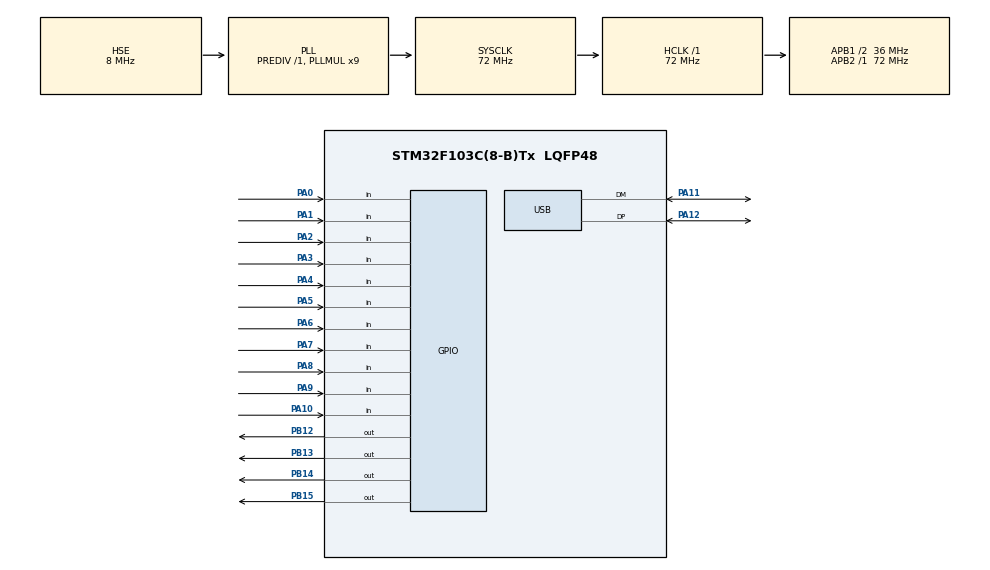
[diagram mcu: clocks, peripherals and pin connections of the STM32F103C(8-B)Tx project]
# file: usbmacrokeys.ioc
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Mcu.Family=STM32F1
Mcu.Name=STM32F103C(8-B)Tx
Mcu.Package=LQFP48
Mcu.UserConstants=bInterfaceSubClass,0x00;nInterfaceProtocol,0x00
NVIC.PriorityGroup=NVIC_PRIORITYGROUP_4
NVIC.USB_LP_CAN1_RX0_IRQn=true\:0\:0\:false\:false\:true\:false
PA0-WKUP.GPIO_PuPd=GPIO_PULLUP
PA0-WKUP.Signal=GPIO_Input
PA1.GPIO_PuPd=GPIO_PULLUP
PA1.Signal=GPIO_Input
PA10.GPIO_PuPd=GPIO_PULLUP
PA10.Signal=GPIO_Input
PA11.Mode=Device
PA11.Signal=USB_DM
PA12.Mode=Device
PA12.Signal=USB_DP
PA2.GPIO_PuPd=GPIO_PULLUP
PA2.Signal=GPIO_Input
PA3.GPIO_PuPd=GPIO_PULLUP
PA3.Signal=GPIO_Input
PA4.GPIO_PuPd=GPIO_PULLUP
PA4.Signal=GPIO_Input
PA5.GPIO_PuPd=GPIO_PULLUP
PA5.Signal=GPIO_Input
PA6.GPIO_PuPd=GPIO_PULLUP
PA6.Signal=GPIO_Input
PA7.GPIO_PuPd=GPIO_PULLUP
PA7.Signal=GPIO_Input
PA8.GPIO_PuPd=GPIO_PULLUP
PA8.Signal=GPIO_Input
PA9.GPIO_PuPd=GPIO_PULLUP
PA9.Signal=GPIO_Input
PB12.Signal=GPIO_Output
PB13.Signal=GPIO_Output
PB14.Signal=GPIO_Output
PB15.Signal=GPIO_Output
PD0-OSC_IN.Mode=HSE-External-Oscillator
PD0-OSC_IN.Signal=RCC_OSC_IN
PD1-OSC_OUT.Mode=HSE-External-Oscillator
PD1-OSC_OUT.Signal=RCC_OSC_OUT
ProjectManager.HeapSize=0x200
ProjectManager.StackSize=0x400
ProjectManager.TargetToolchain=MDK-ARM V5
RCC.AHBFreq_Value=72000000
RCC.APB1CLKDivider=RCC_HCLK_DIV2
RCC.APB1Freq_Value=36000000
RCC.APB1TimFreq_Value=72000000
RCC.APB2Freq_Value=72000000
RCC.APB2TimFreq_Value=72000000
RCC.HCLKFreq_Value=72000000
RCC.PLLMUL=RCC_PLL_MUL9
RCC.SYSCLKFreq_VALUE=72000000
RCC.SYSCLKSource=RCC_SYSCLKSOURCE_PLLCLK
RCC.USBFreq_Value=48000000
RCC.USBPrescaler=RCC_USBCLKSOURCE_PLL_DIV1_5
USB_DEVICE.CLASS_NAME_FS=CUSTOMHID
USB_DEVICE.MANUFACTURER_STRING=GV
USB_DEVICE.PID_CUSTOMHID_FS=22359
USB_DEVICE.PRODUCT_STRING_CUSTOMHID_FS=Macro Keyboard
USB_DEVICE.USBD_CUSTOM_HID_REPORT_DESC_SIZE=70
USB_DEVICE.VirtualMode=CustomHid
USB_DEVICE.VirtualModeFS=Custom_Hid_FS
VP_SYS_VS_ND.Mode=No_Debug
VP_USB_DEVICE_VS_USB_DEVICE_CUSTOM_HID_FS.Mode=CUSTOM_HID_FS
board=custom

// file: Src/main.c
/**
  ******************************************************************************
  * @file           : main.c
  * @brief          : Main program body
  ******************************************************************************
  * This notice applies to any and all portions of this file
  * that are not between comment pairs USER CODE BEGIN and
  * USER CODE END. Other portions of this file, whether
  * inserted by the user or by software development tools
  * are owned by their respective copyright owners.
  *
  * Copyright (c) 2018 STMicroelectronics International N.V.
  * All rights reserved.
  *
  * Redistribution and use in source and binary forms, with or without
  * modification, are permitted, provided that the following conditions are met:
  *
  * 1. Redistribution of source code must retain the above copyright notice,
  *    this list of conditions and the following disclaimer.
  * 2. Redistributions in binary form must reproduce the above copyright notice,
  *    this list of conditions and the following disclaimer in the documentation
  *    and/or other materials provided with the distribution.
  * 3. Neither the name of STMicroelectronics nor the names of other
  *    contributors to this software may be used to endorse or promote products
  *    derived from this software without specific written permission.
  * 4. This software, including modifications and/or derivative works of this
  *    software, must execute solely and exclusively on microcontroller or
  *    microprocessor devices manufactured by or for STMicroelectronics.
  * 5. Redistribution and use of this software other than as permitted under
  *    this license is void and will automatically terminate your rights under
  *    this license.
  *
  * THIS SOFTWARE IS PROVIDED BY STMICROELECTRONICS AND CONTRIBUTORS "AS IS"
  * AND ANY EXPRESS, IMPLIED OR STATUTORY WARRANTIES, INCLUDING, BUT NOT
  * LIMITED TO, THE IMPLIED WARRANTIES OF MERCHANTABILITY, FITNESS FOR A
  * PARTICULAR PURPOSE AND NON-INFRINGEMENT OF THIRD PARTY INTELLECTUAL PROPERTY
  * RIGHTS ARE DISCLAIMED TO THE FULLEST EXTENT PERMITTED BY LAW. IN NO EVENT
  * SHALL STMICROELECTRONICS OR CONTRIBUTORS BE LIABLE FOR ANY DIRECT, INDIRECT,
  * INCIDENTAL, SPECIAL, EXEMPLARY, OR CONSEQUENTIAL DAMAGES (INCLUDING, BUT NOT
  * LIMITED TO, PROCUREMENT OF SUBSTITUTE GOODS OR SERVICES; LOSS OF USE, DATA,
  * OR PROFITS; OR BUSINESS INTERRUPTION) HOWEVER CAUSED AND ON ANY THEORY OF
  * LIABILITY, WHETHER IN CONTRACT, STRICT LIABILITY, OR TORT (INCLUDING
  * NEGLIGENCE OR OTHERWISE) ARISING IN ANY WAY OUT OF THE USE OF THIS SOFTWARE,
  * EVEN IF ADVISED OF THE POSSIBILITY OF SUCH DAMAGE.
  *
  ******************************************************************************
  */
#include "main.h"
#include "stm32f1xx_hal.h"
#include "usb_device.h"

/* USER CODE BEGIN PV */
/* Private variables ---------------------------------------------------------*/

/* USER CODE END PV */

void SystemClock_Config(void);
static void MX_GPIO_Init(void);

/* USER CODE BEGIN PFP */
/* Private function prototypes -----------------------------------------------*/

/* USER CODE END PFP */

int main(void)
{
  /* USER CODE BEGIN 1 */
		// HID Media
		struct mediaHID_t {
			uint8_t id;
			uint8_t keys;
		};
		struct mediaHID_t mediaHID;
		mediaHID.id = 2;
		mediaHID.keys = 0;
		// HID Buttons
		struct keypadHID_t {
			uint8_t id;
			uint8_t keys;
		};
		struct keypadHID_t keypadHID;
		keypadHID.id = 1;
		keypadHID.keys = 0;

		int pinStates[11] = {0};
  /* USER CODE END 1 */

  /* MCU Configuration----------------------------------------------------------*/

  /* Reset of all peripherals, Initializes the Flash interface and the Systick. */
  HAL_Init();

  /* Configure the system clock */
  SystemClock_Config();

  /* Initialize all configured peripherals */
  MX_GPIO_Init();
  MX_USB_DEVICE_Init();

  /* Infinite loop */
  while (1)
  {

  /* USER CODE BEGIN 3 */
    // Send HID report

		if (!HAL_GPIO_ReadPin(GPIOA, GPIO_PIN_0) && pinStates[0] == 0) {	     //Checks if PA0 is pressed and was not pressed before
			HAL_GPIO_WritePin(GPIOB, GPIO_PIN_12, GPIO_PIN_SET);                 //Switch off LED
			keypadHID.id = 2;                                                    //Consumer Device
			keypadHID.keys = USB_HID_VOL_UP;                                     //Volume Up
			USBD_CUSTOM_HID_SendReport(&hUsbDeviceFS, &keypadHID, 2);                   //VOL UP is pressed
			pinStates[0] = 1;                                                    //Set state to pressed
		} else if (HAL_GPIO_ReadPin(GPIOA, GPIO_PIN_0) && pinStates[0] == 1) { //Checks if PA0 is not pressed but was pressed before
			keypadHID.id = 2;                                                    //Consumer Device
			keypadHID.keys = 0;                                                  //Not Pressed
			USBD_CUSTOM_HID_SendReport(&hUsbDeviceFS, &keypadHID, 2);
			pinStates[0] = 0;                                                    //Set state back to not pressed
			HAL_GPIO_WritePin(GPIOB, GPIO_PIN_12, GPIO_PIN_RESET);               //Switch on LED
		}

		if (!HAL_GPIO_ReadPin(GPIOA, GPIO_PIN_1) && pinStates[1] == 0) {	     //Checks if PA1 is pressed and was not pressed before
			HAL_GPIO_WritePin(GPIOB, GPIO_PIN_12, GPIO_PIN_SET);                 //Switch off LED
			keypadHID.id = 2;                                                    //Consumer Device
			keypadHID.keys = USB_HID_VOL_DEC;                                    //Volume Down
			USBD_CUSTOM_HID_SendReport(&hUsbDeviceFS, &keypadHID, 2);                   //VOL DOWN is pressed
			pinStates[1] = 1;                                                    //Set state to pressed
		} else if (HAL_GPIO_ReadPin(GPIOA, GPIO_PIN_1) && pinStates[1] == 1) { //Checks if PA1 is not pressed but was pressed before
			keypadHID.id = 2;                                                    //Consumer Device
			keypadHID.keys = 0;                                                  //Not Pressed
			USBD_CUSTOM_HID_SendReport(&hUsbDeviceFS, &keypadHID, 2);
			pinStates[1] = 0;                                                    //Set state back to not pressed
			HAL_GPIO_WritePin(GPIOB, GPIO_PIN_12, GPIO_PIN_RESET);               //Switch on LED
		}

		if (!HAL_GPIO_ReadPin(GPIOA, GPIO_PIN_2) && pinStates[2] == 0) {	     //Checks if PA2 is pressed and was not pressed before
			HAL_GPIO_WritePin(GPIOB, GPIO_PIN_12, GPIO_PIN_SET);                 //Switch off LED
			keypadHID.id = 2;                                                    //Consumer Device
			keypadHID.keys = USB_HID_MUTE;                                       //Mute
			USBD_CUSTOM_HID_SendReport(&hUsbDeviceFS, &keypadHID, 2);                   //MUTE is pressed
			pinStates[2] = 1;                                                    //Set state to pressed
			HAL_Delay(30);
			keypadHID.id = 2;                                                    //Consumer Device
			keypadHID.keys = 0;                                                  //Not Pressed
			USBD_CUSTOM_HID_SendReport(&hUsbDeviceFS, &keypadHID, 2);
			HAL_GPIO_WritePin(GPIOB, GPIO_PIN_12, GPIO_PIN_RESET);               //Switch on LED
			HAL_Delay(100);
		} else if (HAL_GPIO_ReadPin(GPIOA, GPIO_PIN_2) && pinStates[2] == 1) { //Checks if PA2 is not pressed but was pressed before
			pinStates[2] = 0;                                                    //Set state back to not pressed
			HAL_Delay(100);
		}

		if (!HAL_GPIO_ReadPin(GPIOA, GPIO_PIN_3) && pinStates[3] == 0) {	     //Checks if PA3 is pressed and was not pressed before
			HAL_GPIO_WritePin(GPIOB, GPIO_PIN_12, GPIO_PIN_SET);                 //Switch off LED
			keypadHID.id = 2;                                                    //Consumer Device
			keypadHID.keys = USB_HID_SCAN_PREV;                                  //Back One Song
			USBD_CUSTOM_HID_SendReport(&hUsbDeviceFS, &keypadHID, 2);                   //SCAN_PREV is pressed
			pinStates[3] = 1;                                                    //Set state to pressed
			HAL_Delay(30);
			keypadHID.id = 2;                                                    //Consumer Device
			keypadHID.keys = 0;                                                  //Not Pressed
			USBD_CUSTOM_HID_SendReport(&hUsbDeviceFS, &keypadHID, 2);
			HAL_GPIO_WritePin(GPIOB, GPIO_PIN_12, GPIO_PIN_RESET);               //Switch on LED
			HAL_Delay(100);
		} else if (HAL_GPIO_ReadPin(GPIOA, GPIO_PIN_3) && pinStates[3] == 1) { //Checks if PA3 is not pressed but was pressed before
			pinStates[3] = 0;                                                    //Set state back to not pressed
			HAL_Delay(100);
		}

		if (!HAL_GPIO_ReadPin(GPIOA, GPIO_PIN_4) && pinStates[4] == 0) {	     //Checks if PA4 is pressed and was not pressed before
			HAL_GPIO_WritePin(GPIOB, GPIO_PIN_12, GPIO_PIN_SET);                 //Switch off LED
			keypadHID.id = 2;                                                    //Consumer Device
			keypadHID.keys = USB_HID_SCAN_NEXT;                                  //Skip
			USBD_CUSTOM_HID_SendReport(&hUsbDeviceFS, &keypadHID, 2);                   //SCAN_NEXT is pressed
			pinStates[4] = 1;                                                    //Set state to pressed
			HAL_Delay(30);
			keypadHID.id = 2;                                                    //Consumer Device
			keypadHID.keys = 0;                                                  //Not Pressed
			USBD_CUSTOM_HID_SendReport(&hUsbDeviceFS, &keypadHID, 2);
			HAL_GPIO_WritePin(GPIOB, GPIO_PIN_12, GPIO_PIN_RESET);               //Switch on LED
			HAL_Delay(100);
		} else if (HAL_GPIO_ReadPin(GPIOA, GPIO_PIN_4) && pinStates[4] == 1) { //Checks if PA4 is not pressed but was pressed before
			pinStates[4] = 0;                                                    //Set state back to not pressed
			HAL_Delay(100);
		}

		if (!HAL_GPIO_ReadPin(GPIOA, GPIO_PIN_5) && pinStates[5] == 0) {	     //Checks if PA5 is pressed and was not pressed before
			HAL_GPIO_WritePin(GPIOB, GPIO_PIN_12, GPIO_PIN_SET);                 //Switch off LED
			keypadHID.id = 2;                                                    //Consumer Device
			keypadHID.keys = USB_HID_PAUSE;                                      //Play/Pause
			USBD_CUSTOM_HID_SendReport(&hUsbDeviceFS, &keypadHID, 2);                   //PAUSE is pressed
			pinStates[5] = 1;                                                    //Set state to pressed
			HAL_Delay(30);
			keypadHID.id = 2;                                                    //Consumer Device
			keypadHID.keys = 0;                                                  //Not Pressed
			USBD_CUSTOM_HID_SendReport(&hUsbDeviceFS, &keypadHID, 2);
			HAL_GPIO_WritePin(GPIOB, GPIO_PIN_12, GPIO_PIN_RESET);               //Switch on LED
			HAL_Delay(100);
		} else if (HAL_GPIO_ReadPin(GPIOA, GPIO_PIN_5) && pinStates[5] == 1) { //Checks if PA5 is not pressed but was pressed before
			pinStates[5] = 0;                                                    //Set state back to not pressed
			HAL_Delay(100);
		}

		if (!HAL_GPIO_ReadPin(GPIOA, GPIO_PIN_6) && pinStates[6] == 0) {	// checks if PA6 is pressed and was not pressed before
			HAL_GPIO_WritePin(GPIOB, GPIO_PIN_12, GPIO_PIN_SET); //Switch off LED
			keypadHID.id = 1; //GamePad
			keypadHID.keys = GP_HID_J1; //Button 1
			USBD_CUSTOM_HID_SendReport(&hUsbDeviceFS, &keypadHID, 2); //Button 1 is pressed
			pinStates[6] = 1; //Set state to pressed
		} else if (HAL_GPIO_ReadPin(GPIOA, GPIO_PIN_6) && pinStates[6] == 1) { //checks if PA6 is not pressed but was pressed before
			keypadHID.id = 1; //GamePad
			keypadHID.keys = 0; //Not Pressed
			USBD_CUSTOM_HID_SendReport(&hUsbDeviceFS, &keypadHID, 2);
			pinStates[6] = 0; //Set state back to not pressed
			HAL_GPIO_WritePin(GPIOB, GPIO_PIN_12, GPIO_PIN_RESET); //Switch on LED
		}

		if (!HAL_GPIO_ReadPin(GPIOA, GPIO_PIN_7) && pinStates[7] == 0) {	// checks if PA7 is pressed and was not pressed before
      HAL_GPIO_WritePin(GPIOB, GPIO_PIN_12, GPIO_PIN_SET); //Switch off LED
			keypadHID.id = 1; //GamePad
			keypadHID.keys = GP_HID_J2; //Button 2
			USBD_CUSTOM_HID_SendReport(&hUsbDeviceFS, &keypadHID, 2); //Button 2 is pressed
			pinStates[7] = 1; //Set state to pressed
    } else if (HAL_GPIO_ReadPin(GPIOA, GPIO_PIN_7) && pinStates[7] == 1) { //checks if PA7 is not pressed but was pressed before
			keypadHID.id = 1; //GamePad
			keypadHID.keys = 0; //Not Pressed
			USBD_CUSTOM_HID_SendReport(&hUsbDeviceFS, &keypadHID, 2);
			pinStates[7] = 0; //Set state back to not pressed
			HAL_GPIO_WritePin(GPIOB, GPIO_PIN_12, GPIO_PIN_RESET); //Switch on LED
		}

		if (!HAL_GPIO_ReadPin(GPIOA, GPIO_PIN_8) && pinStates[8] == 0) {	// checks if PA8 is pressed and was not pressed before
      HAL_GPIO_WritePin(GPIOB, GPIO_PIN_12, GPIO_PIN_SET); //Switch off LED
			keypadHID.id = 1; //GamePad
			keypadHID.keys = GP_HID_J3; //Button 3
			USBD_CUSTOM_HID_SendReport(&hUsbDeviceFS, &keypadHID, 2); //Button 3 is pressed
			pinStates[8] = 1; //Set state to pressed
    } else if (HAL_GPIO_ReadPin(GPIOA, GPIO_PIN_8) && pinStates[8] == 1) { //checks if PA8 is not pressed but was pressed before
			keypadHID.id = 1; //GamePad
			keypadHID.keys = 0; //Not Pressed
			USBD_CUSTOM_HID_SendReport(&hUsbDeviceFS, &keypadHID, 2);
			pinStates[8] = 0; //Set state back to not pressed
			HAL_GPIO_WritePin(GPIOB, GPIO_PIN_12, GPIO_PIN_RESET); //Switch on LED
		}

		if (!HAL_GPIO_ReadPin(GPIOA, GPIO_PIN_9) && pinStates[9] == 0) {	// checks if PA9 is pressed and was not pressed before
      HAL_GPIO_WritePin(GPIOB, GPIO_PIN_12, GPIO_PIN_SET); //Switch off LED
			keypadHID.id = 1; //GamePad
			keypadHID.keys = GP_HID_J4; //Button 4
			USBD_CUSTOM_HID_SendReport(&hUsbDeviceFS, &keypadHID, 2); //Button 4 is pressed
			pinStates[9] = 1; //Set state to pressed
    } else if (HAL_GPIO_ReadPin(GPIOA, GPIO_PIN_9) && pinStates[9] == 1) { //checks if PA9 is not pressed but was pressed before
			keypadHID.id = 1; //GamePad
			keypadHID.keys = 0; //Not Pressed
			USBD_CUSTOM_HID_SendReport(&hUsbDeviceFS, &keypadHID, 2);
			pinStates[9] = 0; //Set state back to not pressed
			HAL_GPIO_WritePin(GPIOB, GPIO_PIN_12, GPIO_PIN_RESET); //Switch on LED
		}

		if (!HAL_GPIO_ReadPin(GPIOA, GPIO_PIN_10) && pinStates[10] == 0) {	// checks if PA10 is pressed and was not pressed before
      HAL_GPIO_WritePin(GPIOB, GPIO_PIN_12, GPIO_PIN_SET); //Switch off LED
			keypadHID.id = 1; //GamePad
			keypadHID.keys = GP_HID_J5; //Button 5
			USBD_CUSTOM_HID_SendReport(&hUsbDeviceFS, &keypadHID, 2); //Button 5 is pressed
			pinStates[10] = 1; //Set state to pressed
    } else if (HAL_GPIO_ReadPin(GPIOA, GPIO_PIN_10) && pinStates[10] == 1) { //checks if PA10 is not pressed but was pressed before
			keypadHID.id = 1; //GamePad
			keypadHID.keys = 0; //Not Pressed
			USBD_CUSTOM_HID_SendReport(&hUsbDeviceFS, &keypadHID, 2);
			pinStates[10] = 0; //Set state back to not pressed
			HAL_GPIO_WritePin(GPIOB, GPIO_PIN_12, GPIO_PIN_RESET); //Switch on LED
		}

    //keyboardHID.modifiers = USB_HID_MODIFIER_RIGHT_SHIFT;
    //keyboardHID.key1 = USB_HID_VOL_DEC;
    //USBD_CUSTOM_HID_SendReport(&hUsbDeviceFS, &keyboardHID, sizeof(struct keyboardHID_t));
    //HAL_Delay(30);
    //keyboardHID.modifiers = 0;
    //keyboardHID.key1 = 0;
    //USBD_CUSTOM_HID_SendReport(&hUsbDeviceFS, &keyboardHID, sizeof(struct keyboardHID_t));
  }
  /* USER CODE END 3 */

}

void SystemClock_Config(void)
{

  RCC_OscInitTypeDef RCC_OscInitStruct;
  RCC_ClkInitTypeDef RCC_ClkInitStruct;
  RCC_PeriphCLKInitTypeDef PeriphClkInit;

    /**Initializes the CPU, AHB and APB busses clocks
    */
  RCC_OscInitStruct.OscillatorType = RCC_OSCILLATORTYPE_HSE;
  RCC_OscInitStruct.HSEState = RCC_HSE_ON;
  RCC_OscInitStruct.HSEPredivValue = RCC_HSE_PREDIV_DIV1;
  RCC_OscInitStruct.HSIState = RCC_HSI_ON;
  RCC_OscInitStruct.PLL.PLLState = RCC_PLL_ON;
  RCC_OscInitStruct.PLL.PLLSource = RCC_PLLSOURCE_HSE;
  RCC_OscInitStruct.PLL.PLLMUL = RCC_PLL_MUL9;
  if (HAL_RCC_OscConfig(&RCC_OscInitStruct) != HAL_OK)
  {
    _Error_Handler(__FILE__, __LINE__);
  }

    /**Initializes the CPU, AHB and APB busses clocks
    */
  RCC_ClkInitStruct.ClockType = RCC_CLOCKTYPE_HCLK|RCC_CLOCKTYPE_SYSCLK
                              |RCC_CLOCKTYPE_PCLK1|RCC_CLOCKTYPE_PCLK2;
  RCC_ClkInitStruct.SYSCLKSource = RCC_SYSCLKSOURCE_PLLCLK;
  RCC_ClkInitStruct.AHBCLKDivider = RCC_SYSCLK_DIV1;
  RCC_ClkInitStruct.APB1CLKDivider = RCC_HCLK_DIV2;
  RCC_ClkInitStruct.APB2CLKDivider = RCC_HCLK_DIV1;

  if (HAL_RCC_ClockConfig(&RCC_ClkInitStruct, FLASH_LATENCY_2) != HAL_OK)
  {
    _Error_Handler(__FILE__, __LINE__);
  }

  PeriphClkInit.PeriphClockSelection = RCC_PERIPHCLK_USB;
  PeriphClkInit.UsbClockSelection = RCC_USBCLKSOURCE_PLL_DIV1_5;
  if (HAL_RCCEx_PeriphCLKConfig(&PeriphClkInit) != HAL_OK)
  {
    _Error_Handler(__FILE__, __LINE__);
  }

    /**Configure the Systick interrupt time
    */
  HAL_SYSTICK_Config(HAL_RCC_GetHCLKFreq()/1000);

    /**Configure the Systick
    */
  HAL_SYSTICK_CLKSourceConfig(SYSTICK_CLKSOURCE_HCLK);

  /* SysTick_IRQn interrupt configuration */
  HAL_NVIC_SetPriority(SysTick_IRQn, 0, 0);
}

/** Configure pins as
        * Analog
        * Input
        * Output
        * EVENT_OUT
        * EXTI
*/
static void MX_GPIO_Init(void)
{

  GPIO_InitTypeDef GPIO_InitStruct;

  /* GPIO Ports Clock Enable */
  __HAL_RCC_GPIOD_CLK_ENABLE();
  __HAL_RCC_GPIOA_CLK_ENABLE();
  __HAL_RCC_GPIOB_CLK_ENABLE();

  /*Configure GPIO pin Output Level */
  HAL_GPIO_WritePin(GPIOB, GPIO_PIN_12|GPIO_PIN_13|GPIO_PIN_14|GPIO_PIN_15, GPIO_PIN_RESET);

  /*Configure GPIO pins : PA0 PA1 PA2 PA3
                           PA4 PA5 PA6 PA7
                           PA8 PA9 PA10 */
  GPIO_InitStruct.Pin = GPIO_PIN_0|GPIO_PIN_1|GPIO_PIN_2|GPIO_PIN_3
                          |GPIO_PIN_4|GPIO_PIN_5|GPIO_PIN_6|GPIO_PIN_7
                          |GPIO_PIN_8|GPIO_PIN_9|GPIO_PIN_10;
  GPIO_InitStruct.Mode = GPIO_MODE_INPUT;
  GPIO_InitStruct.Pull = GPIO_PULLUP;
  HAL_GPIO_Init(GPIOA, &GPIO_InitStruct);

  /*Configure GPIO pins : PB12 PB13 PB14 PB15 */
  GPIO_InitStruct.Pin = GPIO_PIN_12|GPIO_PIN_13|GPIO_PIN_14|GPIO_PIN_15;
  GPIO_InitStruct.Mode = GPIO_MODE_OUTPUT_PP;
  GPIO_InitStruct.Pull = GPIO_NOPULL;
  GPIO_InitStruct.Speed = GPIO_SPEED_FREQ_LOW;
  HAL_GPIO_Init(GPIOB, &GPIO_InitStruct);

}

void _Error_Handler(char *file, int line)
{
  while(1)
  {
  }
}

/************************ (C) COPYRIGHT STMicroelectronics *****END OF FILE****/
